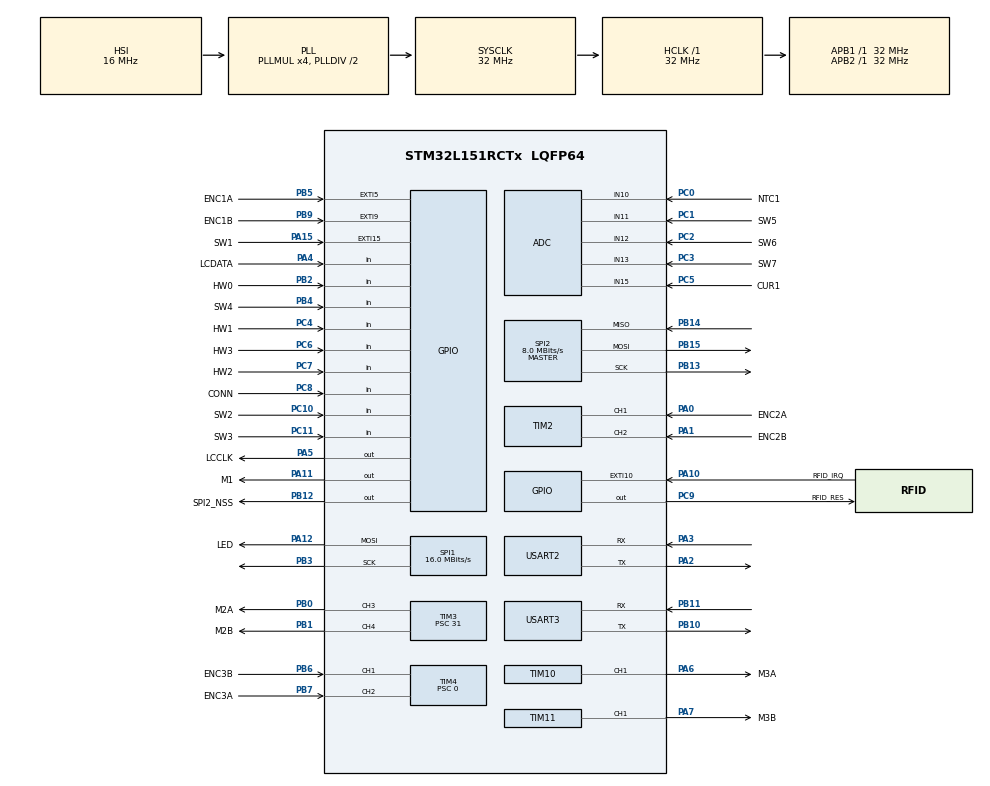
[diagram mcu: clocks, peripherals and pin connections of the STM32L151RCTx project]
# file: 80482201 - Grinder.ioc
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ADC.Channel-0\#ChannelRegularConversion=ADC_CHANNEL_10
ADC.Channel-1\#ChannelRegularConversion=ADC_CHANNEL_15
ADC.Channel-2\#ChannelRegularConversion=ADC_CHANNEL_11
ADC.Channel-3\#ChannelRegularConversion=ADC_CHANNEL_12
ADC.Channel-4\#ChannelRegularConversion=ADC_CHANNEL_13
ADC.Channel-5\#ChannelRegularConversion=ADC_CHANNEL_VREFINT
ADC.ContinuousConvMode=ENABLE
ADC.DMAContinuousRequests=ENABLE
ADC.NbrOfConversion=6
ADC.NbrOfConversionFlag=1
ADC.Rank-0\#ChannelRegularConversion=1
ADC.Rank-1\#ChannelRegularConversion=2
ADC.Rank-2\#ChannelRegularConversion=3
ADC.Rank-3\#ChannelRegularConversion=4
ADC.Rank-4\#ChannelRegularConversion=5
ADC.Rank-5\#ChannelRegularConversion=6
ADC.SamplingTime-0\#ChannelRegularConversion=ADC_SAMPLETIME_192CYCLES
ADC.SamplingTime-1\#ChannelRegularConversion=ADC_SAMPLETIME_192CYCLES
ADC.SamplingTime-2\#ChannelRegularConversion=ADC_SAMPLETIME_192CYCLES
ADC.SamplingTime-3\#ChannelRegularConversion=ADC_SAMPLETIME_192CYCLES
ADC.SamplingTime-4\#ChannelRegularConversion=ADC_SAMPLETIME_192CYCLES
ADC.SamplingTime-5\#ChannelRegularConversion=ADC_SAMPLETIME_192CYCLES
ADC.ScanConvMode=ADC_SCAN_ENABLE
Dma.ADC.0.Direction=DMA_PERIPH_TO_MEMORY
Dma.ADC.0.Instance=DMA1_Channel1
Dma.ADC.0.MemDataAlignment=DMA_MDATAALIGN_HALFWORD
Dma.ADC.0.MemInc=DMA_MINC_ENABLE
Dma.ADC.0.Mode=DMA_CIRCULAR
Dma.ADC.0.PeriphDataAlignment=DMA_PDATAALIGN_HALFWORD
Dma.ADC.0.PeriphInc=DMA_PINC_DISABLE
Dma.ADC.0.Priority=DMA_PRIORITY_LOW
Dma.Request0=ADC
Dma.Request1=USART3_RX
Dma.Request2=USART2_RX
Dma.USART2_RX.2.Direction=DMA_PERIPH_TO_MEMORY
Dma.USART2_RX.2.Instance=DMA1_Channel6
Dma.USART2_RX.2.MemDataAlignment=DMA_MDATAALIGN_BYTE
Dma.USART2_RX.2.MemInc=DMA_MINC_ENABLE
Dma.USART2_RX.2.Mode=DMA_CIRCULAR
Dma.USART2_RX.2.PeriphDataAlignment=DMA_PDATAALIGN_BYTE
Dma.USART2_RX.2.PeriphInc=DMA_PINC_DISABLE
Dma.USART2_RX.2.Priority=DMA_PRIORITY_LOW
Dma.USART3_RX.1.Direction=DMA_PERIPH_TO_MEMORY
Dma.USART3_RX.1.Instance=DMA1_Channel3
Dma.USART3_RX.1.MemDataAlignment=DMA_MDATAALIGN_BYTE
Dma.USART3_RX.1.MemInc=DMA_MINC_ENABLE
Dma.USART3_RX.1.Mode=DMA_CIRCULAR
Dma.USART3_RX.1.PeriphDataAlignment=DMA_PDATAALIGN_BYTE
Dma.USART3_RX.1.PeriphInc=DMA_PINC_DISABLE
Dma.USART3_RX.1.Priority=DMA_PRIORITY_LOW
IWDG.Prescaler=IWDG_PRESCALER_256
Mcu.Family=STM32L1
Mcu.Name=STM32L151RCTx
Mcu.Package=LQFP64
NVIC.DMA1_Channel1_IRQn=true\:0\:0\:false\:false\:true\:false\:true\:true
NVIC.DMA1_Channel3_IRQn=true\:0\:0\:false\:false\:true\:false\:true\:true
NVIC.DMA1_Channel6_IRQn=true\:0\:0\:false\:false\:true\:false\:true\:true
NVIC.EXTI15_10_IRQn=true\:0\:0\:false\:false\:true\:true\:true\:true
NVIC.PriorityGroup=NVIC_PRIORITYGROUP_4
NVIC.SPI1_IRQn=true\:0\:0\:false\:false\:true\:true\:true\:true
NVIC.TIM4_IRQn=true\:0\:0\:false\:false\:true\:true\:true\:true
NVIC.TIM5_IRQn=true\:0\:0\:false\:false\:true\:true\:true\:true
NVIC.USART2_IRQn=true\:0\:0\:false\:false\:true\:true\:true\:true
NVIC.USART3_IRQn=true\:0\:0\:false\:false\:true\:true\:true\:true
PA0-WKUP1.GPIO_Label=ENC2A
PA0-WKUP1.Signal=S_TIM2_CH1_ETR
PA1.GPIO_Label=ENC2B
PA1.Signal=S_TIM2_CH2
PA10.GPIO_Label=RFID_IRQ
PA10.GPIO_PuPd=GPIO_PULLUP
PA10.Signal=GPXTI10
PA11.GPIO_Label=M1
PA11.Signal=GPIO_Output
PA12.GPIO_Label=LED
PA12.Mode=TX_Only_Simplex_Unidirect_Master
PA12.Signal=SPI1_MOSI
PA13.Mode=Serial_Wire
PA13.Signal=SYS_JTMS-SWDIO
PA14.Mode=Serial_Wire
PA14.Signal=SYS_JTCK-SWCLK
PA15.GPIO_Label=SW1
PA15.GPIO_ModeDefaultEXTI=GPIO_MODE_IT_RISING
PA15.GPIO_PuPd=GPIO_PULLUP
PA15.Signal=GPXTI15
PA2.Mode=Asynchronous
PA2.Signal=USART2_TX
PA3.Mode=Asynchronous
PA3.Signal=USART2_RX
PA4.GPIO_Label=LCDATA
PA4.Signal=GPIO_Input
PA5.GPIO_Label=LCCLK
PA5.Signal=GPIO_Output
PA6.GPIO_Label=M3A
PA6.Signal=S_TIM10_CH1
PA7.GPIO_Label=M3B
PA7.Signal=S_TIM11_CH1
PB0.GPIO_Label=M2A
PB0.Signal=S_TIM3_CH3
PB1.GPIO_Label=M2B
PB1.Signal=S_TIM3_CH4
PB10.Mode=Asynchronous
PB10.Signal=USART3_TX
PB11.Mode=Asynchronous
PB11.Signal=USART3_RX
PB12.GPIO_Label=SPI2_NSS
PB12.Signal=GPIO_Output
PB13.Mode=Full_Duplex_Master
PB13.Signal=SPI2_SCK
PB14.Mode=Full_Duplex_Master
PB14.Signal=SPI2_MISO
PB15.Mode=Full_Duplex_Master
PB15.Signal=SPI2_MOSI
PB2.GPIO_Label=HW0
PB2.GPIO_PuPd=GPIO_PULLUP
PB2.Signal=GPIO_Input
PB3.Mode=TX_Only_Simplex_Unidirect_Master
PB3.Signal=SPI1_SCK
PB4.GPIO_Label=SW4
PB4.GPIO_PuPd=GPIO_PULLUP
PB4.Signal=GPIO_Input
PB5.GPIO_Label=ENC1A
PB5.GPIO_PuPd=GPIO_PULLUP
PB5.Signal=GPXTI5
PB6.GPIO_Label=ENC3B
PB6.Signal=S_TIM4_CH1
PB7.GPIO_Label=ENC3A
PB7.Signal=S_TIM4_CH2
PB9.GPIO_Label=ENC1B
PB9.GPIO_PuPd=GPIO_PULLUP
PB9.Signal=GPXTI9
PC0.GPIO_Label=NTC1
PC0.Mode=IN10
PC0.Signal=ADC_IN10
PC1.GPIO_Label=SW5
PC1.Mode=IN11
PC1.Signal=ADC_IN11
PC10.GPIO_Label=SW2
PC10.GPIO_PuPd=GPIO_PULLUP
PC10.Signal=GPIO_Input
PC11.GPIO_Label=SW3
PC11.GPIO_PuPd=GPIO_PULLUP
PC11.Signal=GPIO_Input
PC2.GPIO_Label=SW6
PC2.Mode=IN12
PC2.Signal=ADC_IN12
PC3.GPIO_Label=SW7
PC3.Mode=IN13
PC3.Signal=ADC_IN13
PC4.GPIO_Label=HW1
PC4.GPIO_PuPd=GPIO_PULLUP
PC4.Signal=GPIO_Input
PC5.GPIO_Label=CUR1
PC5.Mode=IN15
PC5.Signal=ADC_IN15
PC6.GPIO_Label=HW3
PC6.GPIO_PuPd=GPIO_PULLUP
PC6.Signal=GPIO_Input
PC7.GPIO_Label=HW2
PC7.GPIO_PuPd=GPIO_PULLUP
PC7.Signal=GPIO_Input
PC8.GPIO_Label=CONN
PC8.GPIO_PuPd=GPIO_PULLUP
PC8.Signal=GPIO_Input
PC9.GPIO_Label=RFID_RES
PC9.Signal=GPIO_Output
ProjectManager.HeapSize=0x200
ProjectManager.StackSize=0x400
ProjectManager.TargetToolchain=STM32CubeIDE
RCC.48MHZClocksFreq_Value=32000000
RCC.AHBFreq_Value=32000000
RCC.APB1Freq_Value=32000000
RCC.APB1TimFreq_Value=32000000
RCC.APB2Freq_Value=32000000
RCC.APB2TimFreq_Value=32000000
RCC.HCLKFreq_Value=32000000
RCC.HSE_VALUE=8000000
RCC.HSI_VALUE=16000000
RCC.LSE_VALUE=32768
RCC.MSI_VALUE=2097000
RCC.PLLMUL=RCC_PLL_MUL4
RCC.SYSCLKFreq_VALUE=32000000
RCC.SYSCLKSource=RCC_SYSCLKSOURCE_PLLCLK
RCC.VCOOutputFreq_Value=64000000
SH.S_TIM10_CH1.0=TIM10_CH1,PWM Generation1 CH1
SH.S_TIM11_CH1.0=TIM11_CH1,PWM Generation1 CH1
SH.S_TIM2_CH1_ETR.0=TIM2_CH1,Encoder_Interface
SH.S_TIM2_CH2.0=TIM2_CH2,Encoder_Interface
SH.S_TIM3_CH3.0=TIM3_CH3,PWM Generation3 CH3
SH.S_TIM3_CH4.0=TIM3_CH4,PWM Generation4 CH4
SH.S_TIM4_CH1.0=TIM4_CH1,Encoder_Interface
SH.S_TIM4_CH2.0=TIM4_CH2,Encoder_Interface
SPI1.CLKPhase=SPI_PHASE_2EDGE
SPI1.CalculateBaudRate=16.0 MBits/s
SPI1.Direction=SPI_DIRECTION_2LINES
SPI1.Mode=SPI_MODE_MASTER
SPI1.VirtualType=VM_MASTER
SPI2.BaudRatePrescaler=SPI_BAUDRATEPRESCALER_4
SPI2.CalculateBaudRate=8.0 MBits/s
SPI2.Direction=SPI_DIRECTION_2LINES
SPI2.Mode=SPI_MODE_MASTER
SPI2.VirtualType=VM_MASTER
TIM10.Channel=TIM_CHANNEL_1
TIM10.Period=99
TIM10.Prescaler=15
TIM11.Channel=TIM_CHANNEL_1
TIM11.Period=99
TIM11.Prescaler=15
TIM3.Channel-PWM\ Generation3\ CH3=TIM_CHANNEL_3
TIM3.Channel-PWM\ Generation4\ CH4=TIM_CHANNEL_4
TIM3.Period=20000
TIM3.Prescaler=31
TIM4.Period=65535
TIM4.Prescaler=0
TIM5.Prescaler=31
TIM5.TIM_MasterOutputTrigger=TIM_TRGO_UPDATE
USART2.VirtualMode=VM_ASYNC
USART3.VirtualMode=VM_ASYNC
VP_ADC_Vref_Input.Mode=IN-Vrefint
VP_IWDG_VS_IWDG.Mode=IWDG_Activate
VP_TIM10_VS_ClockSourceINT.Mode=Internal
VP_TIM11_VS_ClockSourceINT.Mode=Internal
VP_TIM3_VS_ClockSourceINT.Mode=Internal
VP_TIM5_VS_ClockSourceINT.Mode=Internal
board=custom

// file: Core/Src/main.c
/* USER CODE BEGIN Header */
/**
  ******************************************************************************
  * @file           : main.c
  * @brief          : Main program body
  ******************************************************************************
  * @attention
  *
  * Copyright (c) 2022 STMicroelectronics.
  * All rights reserved.
  *
  * This software is licensed under terms that can be found in the LICENSE file
  * in the root directory of this software component.
  * If no LICENSE file comes with this software, it is provided AS-IS.
  *
  ******************************************************************************
  */
/* USER CODE END Header */
#include "main.h"
#include "adc.h"
#include "dma.h"
#include "iwdg.h"
#include "spi.h"
#include "tim.h"
#include "gpio.h"

/* USER CODE BEGIN Includes */
#include "adc.h"
#include "defines.h"
#include "utils.h"
#include "work.h"
#include "serial.h"
#include "grinder.h"
#include "adjust.h"
#include "scale.h"
#include "hopper.h"
#include "recipe.h"
#include "consumable.h"
#include "serial.h"
#include "analog.h"
#include "clrc663.h"
#include "rfid.h"
#include "led.h"
#include "flash.h"
#include <string.h>
/* USER CODE END Includes */

/* USER CODE BEGIN PM */
extern void SER_SetBaudRate (uint32_t newBaudRate);
void MX_USART3_UART_9600_Init(void);
uint8_t CheckString (uint8_t *StringToCheck, char *CheckString);
/* USER CODE END PM */

/* USER CODE BEGIN PV */
uint16_t a,q,p;
uint8_t AT_Flag = 0;
uint8_t AT_Counter = 0;

/* USER CODE END PV */

void SystemClock_Config(void);

/* USER CODE BEGIN 0 */
uint8_t CheckString (uint8_t *StringToCheck, char *CheckString)
{
	uint8_t ReturnValue = 1;
	for (uint8_t i = 0; i< strlen(CheckString); i++)
	{
		if (StringToCheck[i] != CheckString[i])
		{
			ReturnValue = 0;
		}
	}
	return ReturnValue;
}

void MX_USART3_UART_9600_Init(void)
{

  /* USER CODE BEGIN USART3_Init 0 */

  /* USER CODE END USART3_Init 0 */

  /* USER CODE BEGIN USART3_Init 1 */

  /* USER CODE END USART3_Init 1 */
  huart3.Instance = USART3;
  huart3.Init.BaudRate = 9600;
  huart3.Init.WordLength = UART_WORDLENGTH_8B;
  huart3.Init.StopBits = UART_STOPBITS_1;
  huart3.Init.Parity = UART_PARITY_NONE;
  huart3.Init.Mode = UART_MODE_TX_RX;
  huart3.Init.HwFlowCtl = UART_HWCONTROL_NONE;
  huart3.Init.OverSampling = UART_OVERSAMPLING_16;
  if (HAL_UART_Init(&huart3) != HAL_OK)
  {
    Error_Handler();
  }
  /* USER CODE BEGIN USART3_Init 2 */

  /* USER CODE END USART3_Init 2 */

}
/* USER CODE END 0 */

int main(void)
{
  /* USER CODE BEGIN 1 */
  Initialized = 0;
  SCB->VTOR = FLA_MAINADDRESS; /* Vector Table Relocation to partition 2 in Internal FLASH */
  SysTick->CTRL = 1;
  //Enable interrupts
  __enable_irq();
  /* USER CODE END 1 */

  /* MCU Configuration--------------------------------------------------------*/

  /* Reset of all peripherals, Initializes the Flash interface and the Systick. */
  HAL_Init();

  /* Configure the system clock */
  SystemClock_Config();

  /* Initialize all configured peripherals */
  MX_GPIO_Init();
  MX_DMA_Init();
  MX_ADC_Init();
  MX_SPI2_Init();
  MX_TIM3_Init();
  MX_SPI1_Init();
  MX_TIM4_Init();
  MX_TIM2_Init();
  MX_TIM10_Init();
  MX_TIM11_Init();
  MX_TIM5_Init();
  MX_IWDG_Init();
  /* USER CODE BEGIN 2 */
  MX_USART2_UART_Init();
#ifdef CHECKHC06
  //Init USART3 at 9600 baud
  MX_USART3_UART_9600_Init();
  SER_Init();
  AT_Flag=1; //So the return data is not deleted
  AT_Counter = 0; //Return data counter
  char* Test = "AT";
  HAL_UART_Transmit (&huart3,(uint8_t*)Test, strlen(Test) , 100);
  HAL_Delay(1000);
  if (CheckString(Message.RxData, "OK") == 1) //HC06 is responding with OK, so it is set at 9600 baud
  {
	AT_Counter = 0;
	//Send command to set to 115200 baud
	char* Test2 = "AT+BAUD8";
	memset(Message.RxData, 0, sizeof(Message.RxData));
	HAL_UART_Transmit (&huart3,(uint8_t*)Test2, strlen(Test2) , 100);
	HAL_Delay(2000);
	if (CheckString(Message.RxData, "OK115200") == 1)
	{
		//Do something with the result --> Send to debug port
	}
  }

  //Set USART3 to 115200 baud
  HAL_UART_DeInit(&huart3);
  HAL_Delay(1000);
#endif
  MX_USART3_UART_Init();
  SER_Init(); //Init (again) to start DMA receive
#ifdef CHECKHC06
  //Set the module name to "nunc-grinder"
  AT_Counter = 0;
  memset(Message.RxData, 0, sizeof(Message.RxData));
  //char* Test3 = "AT+NAMEnunc-grinder";
  char* Test3 = "AT+NAMEnunc-grinder";
  //char* Test3 = "AT+BAUD4"; uncomment to set to 9600 baud
  HAL_UART_Transmit (&huart3,(uint8_t*)Test3, strlen(Test3) , 100);
  HAL_Delay(1000);
  if (CheckString(Message.RxData, "OKsetname") == 1)
  {
	  //Do something with the result --> Send to debug port
  }
  memset(Message.RxData, 0, sizeof(Message.RxData));
  Message.RxBuffer = 0;
  Message.Counter = 0;
  AT_Flag=0; //Clear the flag for normal use
#endif
  MX_ADC_Init();
  WRK_Init();
  REC_Init();
  GND_Init();
  ADJ_Init();
  SCL_Init();
  CON_Init();
  HOP_Init();
  ANA_Init();
  LED_Init();
  FLA_Init();

  //HAL_TIM_Base_Start_IT(&htim6);
  /* USER CODE END 2 */

  /* Infinite loop */
  /* USER CODE BEGIN WHILE */
  Initialized = 1;
  while (1)
  {
	HAL_IWDG_Refresh(&hiwdg);
	if (Flg1ms == 1)
	{
		Flg1ms = 0;
		WRK_HandleTickTime();
	}
    /* USER CODE END WHILE */

  }
}

void SystemClock_Config(void)
{
  RCC_OscInitTypeDef RCC_OscInitStruct = {0};
  RCC_ClkInitTypeDef RCC_ClkInitStruct = {0};

  /** Configure the main internal regulator output voltage
  */
  __HAL_PWR_VOLTAGESCALING_CONFIG(PWR_REGULATOR_VOLTAGE_SCALE1);

  /** Initializes the RCC Oscillators according to the specified parameters
  * in the RCC_OscInitTypeDef structure.
  */
  RCC_OscInitStruct.OscillatorType = RCC_OSCILLATORTYPE_HSI|RCC_OSCILLATORTYPE_LSI;
  RCC_OscInitStruct.HSIState = RCC_HSI_ON;
  RCC_OscInitStruct.HSICalibrationValue = RCC_HSICALIBRATION_DEFAULT;
  RCC_OscInitStruct.LSIState = RCC_LSI_ON;
  RCC_OscInitStruct.PLL.PLLState = RCC_PLL_ON;
  RCC_OscInitStruct.PLL.PLLSource = RCC_PLLSOURCE_HSI;
  RCC_OscInitStruct.PLL.PLLMUL = RCC_PLL_MUL4;
  RCC_OscInitStruct.PLL.PLLDIV = RCC_PLL_DIV2;
  if (HAL_RCC_OscConfig(&RCC_OscInitStruct) != HAL_OK)
  {
    Error_Handler();
  }

  /** Initializes the CPU, AHB and APB buses clocks
  */
  RCC_ClkInitStruct.ClockType = RCC_CLOCKTYPE_HCLK|RCC_CLOCKTYPE_SYSCLK
                              |RCC_CLOCKTYPE_PCLK1|RCC_CLOCKTYPE_PCLK2;
  RCC_ClkInitStruct.SYSCLKSource = RCC_SYSCLKSOURCE_PLLCLK;
  RCC_ClkInitStruct.AHBCLKDivider = RCC_SYSCLK_DIV1;
  RCC_ClkInitStruct.APB1CLKDivider = RCC_HCLK_DIV1;
  RCC_ClkInitStruct.APB2CLKDivider = RCC_HCLK_DIV1;

  if (HAL_RCC_ClockConfig(&RCC_ClkInitStruct, FLASH_LATENCY_1) != HAL_OK)
  {
    Error_Handler();
  }
}

void Error_Handler(void)
{
  __disable_irq();
  while (1)
  {
  }
}
